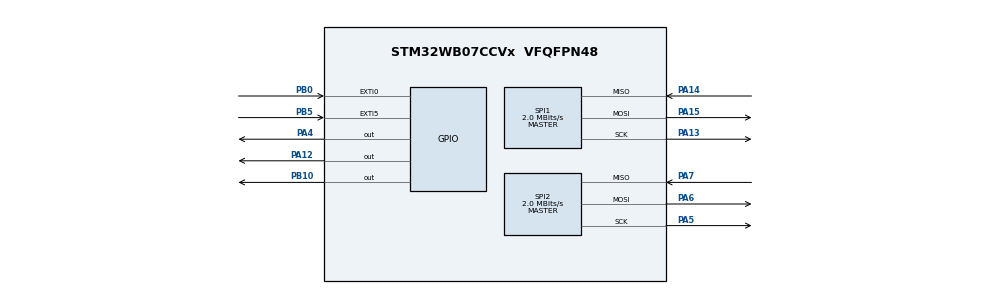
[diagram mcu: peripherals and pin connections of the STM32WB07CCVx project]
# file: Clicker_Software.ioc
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Mcu.Family=STM32WB0
Mcu.Name=STM32WB07CCVx
Mcu.Package=VFQFPN48
NVIC.GPIOB_IRQn=true\:1\:0\:false\:false\:true\:true\:true\:true
NVIC.RADIO_TIMER_CPU_WKUP_IRQn=true\:0\:0\:false\:false\:true\:false\:true\:true
NVIC.RADIO_TIMER_ERROR_IRQn=true\:0\:0\:false\:false\:true\:false\:true\:true
NVIC.RADIO_TIMER_TXRX_WKUP_IRQn=true\:0\:0\:false\:false\:true\:false\:true\:true
NVIC.RADIO_TXRX_IRQn=true\:0\:0\:false\:false\:true\:false\:true\:true
NVIC.RADIO_TXRX_SEQ_IRQn=true\:0\:0\:false\:false\:true\:false\:true\:true
OSCIN.Mode=HSE-External-Oscillator
OSCIN.Signal=RCC_OSC_IN
OSCOUT.Mode=HSE-External-Oscillator
OSCOUT.Signal=RCC_OSC_OUT
PA12.Signal=GPIO_Output
PA13.Mode=Full_Duplex_Master
PA13.Signal=SPI1_SCK
PA14.Mode=Full_Duplex_Master
PA14.Signal=SPI1_MISO
PA15.Mode=Full_Duplex_Master
PA15.Signal=SPI1_MOSI
PA2.Mode=Serial_Wire
PA2.Signal=DEBUG_SWDIO
PA3.Mode=Serial_Wire
PA3.Signal=DEBUG_SWCLK
PA4.Signal=GPIO_Output
PA5.Mode=Full_Duplex_Master
PA5.Signal=SPI2_SCK
PA6.Mode=Full_Duplex_Master
PA6.Signal=SPI2_MOSI
PA7.Mode=Full_Duplex_Master
PA7.Signal=SPI2_MISO
PB0.Signal=GPXTI0
PB10.Signal=GPIO_Output
PB12.Mode=LSE-External-Oscillator
PB12.Signal=RCC_OSC32_OUT
PB13.Mode=LSE-External-Oscillator
PB13.Signal=RCC_OSC32_IN
PB5.Signal=GPXTI5
ProjectManager.HeapSize=0x000
ProjectManager.StackSize=0xC00
ProjectManager.TargetToolchain=STM32CubeIDE
RCC.HSE_VALUE=32000000
RCC.HSI_VALUE=64000000
RCC.RC64MPLLSource=RCC_LSCOSOURCE_PLL64
RCC.RTCClockSelection=RCC_RTC_WDG_BLEWKUP_CLKSOURCE_LSE
RCC.SYSCLK64Divider=RCC_RC64MPLL_DIV2
RF1.Mode=RF1_Activate
RF1.Signal=RADIO_RF1
SPI1.BaudRatePrescaler=SPI_BAUDRATEPRESCALER_16
SPI1.CalculateBaudRate=2.0 MBits/s
SPI1.DataSize=SPI_DATASIZE_8BIT
SPI1.Direction=SPI_DIRECTION_2LINES
SPI1.Mode=SPI_MODE_MASTER
SPI1.VirtualType=VM_MASTER
SPI2.BaudRatePrescaler=SPI_BAUDRATEPRESCALER_16
SPI2.CalculateBaudRate=2.0 MBits/s
SPI2.DataSize=SPI_DATASIZE_8BIT
SPI2.Direction=SPI_DIRECTION_2LINES
SPI2.Mode=SPI_MODE_MASTER
SPI2.VirtualType=VM_MASTER
VP_MEMORYMAP_VS_MEMORYMAP.Mode=CurAppReg
VP_PWR_VS_SECSignals.Mode=Security/Privilege
VP_RADIO_TIMER_VS_RADIO.Mode=RADIO_Activate
board=custom

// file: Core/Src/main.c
/* USER CODE BEGIN Header */
/**
 ******************************************************************************
 * @file           : main.c
 * @brief          : Main program body
 ******************************************************************************
 * @attention
 *
 * Copyright (c) 2025 STMicroelectronics.
 * All rights reserved.
 *
 * This software is licensed under terms that can be found in the LICENSE file
 * in the root directory of this software component.
 * If no LICENSE file comes with this software, it is provided AS-IS.
 *
 ******************************************************************************
 */
/* USER CODE END Header */
#include "main.h"

/* USER CODE BEGIN Includes */
#include "DW1000.h"
/* USER CODE END Includes */

/* USER CODE BEGIN PD */
#define SERVER_CHANNEL 			(0)
#define MAX_NUM_PACKET          (100)     /* Number of packets used for the test */
#define TX_WAKEUP_TIME          (400)     /* 400 us */
#define RX_WAKEUP_TIME          (380)     /* 300 us */
#define RX_TIMEOUT_ACK          (40000)   /* 400 us */
#define RX_TIMEOUT           	(100000)  /* 100 ms */
#define MAX_BEACON_COUNT 		(40)
/* USER CODE END PD */

SPI_HandleTypeDef hspi1;
SPI_HandleTypeDef hspi2;

/* USER CODE BEGIN PV */
DW1000_t dw1000 = { .spi = &hspi2, .NSS_port = GPIOA, .NSS_pin = GPIO_PIN_4,
		.NRST_port = GPIOB, .NRST_pin = GPIO_PIN_10, .tx = 1 };

uint8_t sendData[MAX_PACKET_LENGTH];
uint8_t receivedData[MAX_PACKET_LENGTH];
uint8_t receivedDistanceData[MAX_PACKET_LENGTH];
uint8_t sendNewPacket = FALSE;
uint8_t beacon_count = 0;
uint8_t current_channel = 0;
uint64_t beacon_ID[MAX_BEACON_COUNT];
uint64_t distance_to_beacon[MAX_BEACON_COUNT];
/* USER CODE END PV */

void SystemClock_Config(void);
void PeriphCommonClock_Config(void);
static void MX_GPIO_Init(void);
static void MX_RADIO_Init(void);
static void MX_RADIO_TIMER_Init(void);
static void MX_SPI1_Init(void);
static void MX_SPI2_Init(void);
/* USER CODE BEGIN PFP */
void split_from_uint64(uint64_t, uint8_t*);
uint64_t combine_to_uint64(uint8_t*, uint8_t);
/* USER CODE END PFP */

int main(void) {

	/* MCU Configuration--------------------------------------------------------*/

	/* Reset of all peripherals, Initializes the Flash interface and the Systick. */
	HAL_Init();

	/* Configure the system clock */
	SystemClock_Config();

	/* Configure the peripherals common clocks */
	PeriphCommonClock_Config();

	/* Initialize all configured peripherals */
	MX_GPIO_Init();
	MX_RADIO_Init();
	MX_RADIO_TIMER_Init();
	MX_SPI1_Init();
	MX_SPI2_Init();
	/* USER CODE BEGIN 2 */
	DW1000_init(&dw1000);
	uint8_t pll_lock = DW1000_config(&dw1000, &dw1000_cfg);
	if (pll_lock) {
		hspi2.Init.BaudRatePrescaler = SPI_BAUDRATEPRESCALER_4;
		HAL_SPI_Init(&hspi2);
	}
	uint64_t ID = *((uint64_t*) UID64_BASE);
	uint8_t i = 2;
	sendData[1] = 8;
	do {
		sendData[i++] = ID & 0xFF;
	} while (ID >>= 8);
	HAL_RADIO_SetNetworkID(0x88DF88DF);
	HAL_RADIO_SetTxPower(0x18);
	/* USER CODE END 2 */

	/* Infinite loop */
	/* USER CODE BEGIN WHILE */
	while (1) {
		HAL_RADIO_TIMER_Tick();
		if (sendNewPacket) {
			sendNewPacket = FALSE;
			for (current_channel = 0; current_channel < MAX_BEACON_COUNT;
					current_channel++) {
				sendData[0] = 0x1D;
				HAL_RADIO_SendPacketWithAck(current_channel, TX_WAKEUP_TIME,
						sendData, receivedData, RX_TIMEOUT_ACK,
						MAX_LL_PACKET_LENGTH, HAL_RADIO_Callback);
				HAL_Delay(40);
				HAL_RADIO_TIMER_Tick();
				if (beacon_ID[current_channel] != 0) {
					DW1000_initiator(&dw1000, current_channel);
					sendData[0] = 0xDD;
					HAL_RADIO_SendPacketWithAck(current_channel,
					TX_WAKEUP_TIME, sendData, receivedData,
					RX_TIMEOUT_ACK,
					MAX_LL_PACKET_LENGTH, HAL_RADIO_Callback);
					HAL_Delay(40);
					HAL_RADIO_TIMER_Tick();

				}
			}
			if (beacon_count > 0) {
				memset(receivedDistanceData, 0, sizeof receivedDistanceData);
				receivedDistanceData[0] = 0xFF;
				uint8_t clicker_uuid[8];
				uint8_t data_size = 10;
				split_from_uint64(*((uint64_t*) UID64_BASE), clicker_uuid);
				for (uint8_t k = 2, l = 0; k < 10; k++, l++) {
					receivedDistanceData[k] = clicker_uuid[l];
				}
				for (uint8_t j = 0; j + 1 < MAX_BEACON_COUNT; j++) {
					if (distance_to_beacon[j] != 0 && beacon_ID[j] != 0) {
						uint8_t uuid[8];
						split_from_uint64(beacon_ID[j], uuid);
						for (uint8_t k = data_size, l = 0; k < data_size + 8;
								k++, l++) {
							receivedDistanceData[k] = uuid[l];
						}
						receivedDistanceData[data_size + 8] =
								(uint8_t) distance_to_beacon[j] / 100;
						receivedDistanceData[data_size + 9] =
								distance_to_beacon[j]
										- (receivedDistanceData[data_size + 8]
												* 100);
						data_size += 10;
					}
				}
				receivedDistanceData[1] = data_size;
				HAL_RADIO_SendPacketWithAck(SERVER_CHANNEL,
				TX_WAKEUP_TIME, receivedDistanceData, receivedData,
				RX_TIMEOUT_ACK,
				MAX_LL_PACKET_LENGTH, HAL_RADIO_Callback);
				HAL_Delay(40);
				HAL_RADIO_TIMER_Tick();
				memset(distance_to_beacon, 0, sizeof distance_to_beacon);
				memset(beacon_ID, 0, sizeof beacon_ID);
				beacon_count = 0;
			}
		}
		/* USER CODE END WHILE */

	}
}

void SystemClock_Config(void) {
	RCC_OscInitTypeDef RCC_OscInitStruct = { 0 };
	RCC_ClkInitTypeDef RCC_ClkInitStruct = { 0 };

	/** Initializes the RCC Oscillators according to the specified parameters
	 * in the RCC_OscInitTypeDef structure.
	 */
	RCC_OscInitStruct.OscillatorType = RCC_OSCILLATORTYPE_HSE
			| RCC_OSCILLATORTYPE_LSE;
	RCC_OscInitStruct.HSEState = RCC_HSE_ON;
	RCC_OscInitStruct.LSEState = RCC_LSE_ON;
	if (HAL_RCC_OscConfig(&RCC_OscInitStruct) != HAL_OK) {
		Error_Handler();
	}

	/** Configure the SYSCLKSource and SYSCLKDivider
	 */
	RCC_ClkInitStruct.SYSCLKSource = RCC_SYSCLKSOURCE_RC64MPLL;
	RCC_ClkInitStruct.SYSCLKDivider = RCC_RC64MPLL_DIV2;

	if (HAL_RCC_ClockConfig(&RCC_ClkInitStruct, FLASH_WAIT_STATES_0)
			!= HAL_OK) {
		Error_Handler();
	}
}

void PeriphCommonClock_Config(void) {
	RCC_PeriphCLKInitTypeDef PeriphClkInitStruct = { 0 };

	/** Initializes the peripherals clock
	 */
	PeriphClkInitStruct.PeriphClockSelection = RCC_PERIPHCLK_SMPS;
	PeriphClkInitStruct.SmpsDivSelection = RCC_SMPSCLK_DIV4;

	if (HAL_RCCEx_PeriphCLKConfig(&PeriphClkInitStruct) != HAL_OK) {
		Error_Handler();
	}
}

static void MX_RADIO_Init(void) {

	RADIO_HandleTypeDef hradio = { 0 };

	hradio.Instance = RADIO;
	HAL_RADIO_Init(&hradio);

}

static void MX_RADIO_TIMER_Init(void) {

	RADIO_TIMER_InitTypeDef RADIO_TIMER_InitStruct = { 0 };

	if (__HAL_RCC_RADIO_IS_CLK_DISABLED()) {
		/* Radio Peripheral reset */
		__HAL_RCC_RADIO_FORCE_RESET();
		__HAL_RCC_RADIO_RELEASE_RESET();

		/* Enable Radio peripheral clock */
		__HAL_RCC_RADIO_CLK_ENABLE();
	}
	/* Wait to be sure that the Radio Timer is active */
	while (LL_RADIO_TIMER_GetAbsoluteTime(WAKEUP) < 0x10)
		;
	RADIO_TIMER_InitStruct.XTAL_StartupTime = 320;
	RADIO_TIMER_InitStruct.enableInitialCalibration = FALSE;
	RADIO_TIMER_InitStruct.periodicCalibrationInterval = 0;
	HAL_RADIO_TIMER_Init(&RADIO_TIMER_InitStruct);

}

static void MX_SPI1_Init(void) {

	/* SPI1 parameter configuration*/
	hspi1.Instance = SPI1;
	hspi1.Init.Mode = SPI_MODE_MASTER;
	hspi1.Init.Direction = SPI_DIRECTION_2LINES;
	hspi1.Init.DataSize = SPI_DATASIZE_8BIT;
	hspi1.Init.CLKPolarity = SPI_POLARITY_LOW;
	hspi1.Init.CLKPhase = SPI_PHASE_1EDGE;
	hspi1.Init.NSS = SPI_NSS_SOFT;
	hspi1.Init.BaudRatePrescaler = SPI_BAUDRATEPRESCALER_16;
	hspi1.Init.FirstBit = SPI_FIRSTBIT_MSB;
	hspi1.Init.TIMode = SPI_TIMODE_DISABLE;
	hspi1.Init.CRCCalculation = SPI_CRCCALCULATION_DISABLE;
	hspi1.Init.CRCPolynomial = 7;
	hspi1.Init.CRCLength = SPI_CRC_LENGTH_DATASIZE;
	hspi1.Init.NSSPMode = SPI_NSS_PULSE_ENABLE;
	if (HAL_SPI_Init(&hspi1) != HAL_OK) {
		Error_Handler();
	}

}

static void MX_SPI2_Init(void) {

	/* SPI2 parameter configuration*/
	hspi2.Instance = SPI2;
	hspi2.Init.Mode = SPI_MODE_MASTER;
	hspi2.Init.Direction = SPI_DIRECTION_2LINES;
	hspi2.Init.DataSize = SPI_DATASIZE_8BIT;
	hspi2.Init.CLKPolarity = SPI_POLARITY_LOW;
	hspi2.Init.CLKPhase = SPI_PHASE_1EDGE;
	hspi2.Init.NSS = SPI_NSS_SOFT;
	hspi2.Init.BaudRatePrescaler = SPI_BAUDRATEPRESCALER_16;
	hspi2.Init.FirstBit = SPI_FIRSTBIT_MSB;
	hspi2.Init.TIMode = SPI_TIMODE_DISABLE;
	hspi2.Init.CRCCalculation = SPI_CRCCALCULATION_DISABLE;
	hspi2.Init.CRCPolynomial = 7;
	hspi2.Init.CRCLength = SPI_CRC_LENGTH_DATASIZE;
	hspi2.Init.NSSPMode = SPI_NSS_PULSE_ENABLE;
	if (HAL_SPI_Init(&hspi2) != HAL_OK) {
		Error_Handler();
	}

}

static void MX_GPIO_Init(void) {
	GPIO_InitTypeDef GPIO_InitStruct = { 0 };

	/* GPIO Ports Clock Enable */
	__HAL_RCC_GPIOB_CLK_ENABLE();
	__HAL_RCC_GPIOA_CLK_ENABLE();

	/*Configure GPIO pin Output Level */
	HAL_GPIO_WritePin(GPIOA, GPIO_PIN_12 | GPIO_PIN_4, GPIO_PIN_RESET);

	/*Configure GPIO pin Output Level */
	HAL_GPIO_WritePin(GPIOB, GPIO_PIN_10, GPIO_PIN_RESET);

	/*Configure GPIO pins : PB0 PB5 */
	GPIO_InitStruct.Pin = GPIO_PIN_0 | GPIO_PIN_5;
	GPIO_InitStruct.Mode = GPIO_MODE_IT_RISING;
	GPIO_InitStruct.Pull = GPIO_NOPULL;
	HAL_GPIO_Init(GPIOB, &GPIO_InitStruct);

	/*Configure GPIO pins : PA12 PA4 */
	GPIO_InitStruct.Pin = GPIO_PIN_12 | GPIO_PIN_4;
	GPIO_InitStruct.Mode = GPIO_MODE_OUTPUT_PP;
	GPIO_InitStruct.Pull = GPIO_NOPULL;
	GPIO_InitStruct.Speed = GPIO_SPEED_FREQ_LOW;
	HAL_GPIO_Init(GPIOA, &GPIO_InitStruct);

	/*Configure GPIO pin : PA2 */
	GPIO_InitStruct.Pin = GPIO_PIN_2;
	GPIO_InitStruct.Mode = GPIO_MODE_AF_PP;
	GPIO_InitStruct.Pull = GPIO_PULLUP;
	GPIO_InitStruct.Speed = GPIO_SPEED_FREQ_LOW;
	GPIO_InitStruct.Alternate = GPIO_AF5_SWDIO;
	HAL_GPIO_Init(GPIOA, &GPIO_InitStruct);

	/*Configure GPIO pin : PB10 */
	GPIO_InitStruct.Pin = GPIO_PIN_10;
	GPIO_InitStruct.Mode = GPIO_MODE_OUTPUT_PP;
	GPIO_InitStruct.Pull = GPIO_NOPULL;
	GPIO_InitStruct.Speed = GPIO_SPEED_FREQ_LOW;
	HAL_GPIO_Init(GPIOB, &GPIO_InitStruct);

	/**/
	LL_PWR_SetNoPullA(LL_PWR_GPIO_BIT_12 | LL_PWR_GPIO_BIT_4);

	/**/
	LL_PWR_EnableGPIOPullUp(LL_PWR_GPIO_A, LL_PWR_GPIO_BIT_2);

	/**/
	LL_PWR_SetNoPullB(LL_PWR_GPIO_BIT_10);

	/* EXTI interrupt init*/
	HAL_NVIC_SetPriority(GPIOB_IRQn, 1, 0);
	HAL_NVIC_EnableIRQ(GPIOB_IRQn);

}

/* USER CODE BEGIN 4 */
void split_from_uint64(uint64_t id, uint8_t *array) {
	for (uint8_t i = 0; i < 8; i++) {
		array[i] = (id >> (8 * (7 - i))) & 0xFF;
	}
}
uint64_t combine_to_uint64(uint8_t *array, uint8_t start_index) {
	uint64_t result = 0;

	for (uint8_t i = 0; i < 8; i++) {
		result |= ((uint64_t) array[start_index + i]) << (8 * (7 - i));
	}

	return result;
}

void HAL_RADIO_CallbackRcvOk(RxStats_t *rxPacketStats) {
	if (receivedData[0] == 0x1D) {
		uint64_t ID = combine_to_uint64(receivedData, 2U);
		uint8_t duplicate = 0;
		for (uint8_t i = 0; i < 39; i++) {
			if (beacon_ID[i] == ID) {
				duplicate++;
			}
		}
		if (duplicate == 0) {
			beacon_ID[current_channel] = ID;
		}
		beacon_count = 0;
		for (uint8_t i = 0; i < 39; i++) {
			if (beacon_ID[i] != 0) {
				beacon_count++;
			}
		}
		if (receivedData[10] != 0 || receivedData[11] != 0) {
			uint32_t measured_distance = (receivedData[10] * 100)
					+ receivedData[11];
			uint32_t distance =
					measured_distance
							* (0.5316 + 0.0259 * measured_distance
									+ -0.0001
											* (measured_distance
													* measured_distance));
			distance_to_beacon[current_channel] = distance;
		}
	}
	memset(receivedData, 0, sizeof receivedData);
}

void HAL_GPIO_EXTI_Callback(GPIO_TypeDef *GPIOx, uint16_t GPIO_Pin) {
	sendNewPacket = TRUE;
}
/* USER CODE END 4 */

void Error_Handler(void) {
	__disable_irq();
	while (1) {
	}
}
